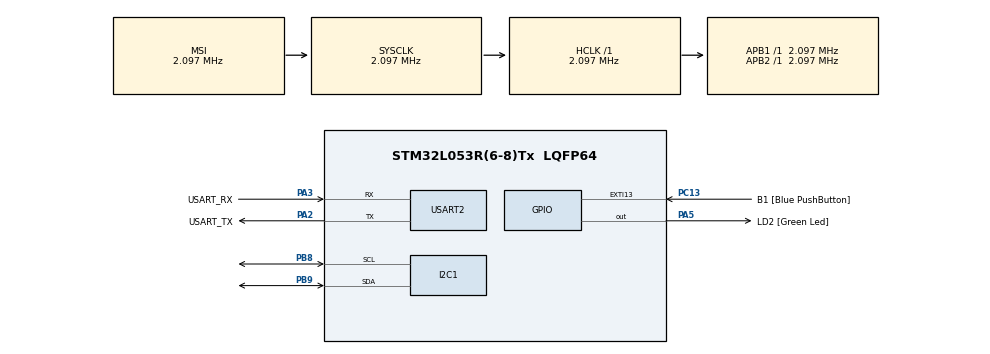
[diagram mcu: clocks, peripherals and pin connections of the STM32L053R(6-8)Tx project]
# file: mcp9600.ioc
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I2C1.Speed=10
I2C1.Timing=0x000006C5
Mcu.Family=STM32L0
Mcu.Name=STM32L053R(6-8)Tx
Mcu.Package=LQFP64
PA13.GPIO_Label=TMS
PA13.Mode=Serial_Wire
PA13.Signal=SYS_SWDIO
PA14.GPIO_Label=TCK
PA14.Mode=Serial_Wire
PA14.Signal=SYS_SWCLK
PA2.GPIO_Label=USART_TX
PA2.Mode=Asynchronous
PA2.Signal=USART2_TX
PA3.GPIO_Label=USART_RX
PA3.Mode=Asynchronous
PA3.Signal=USART2_RX
PA5.GPIO_Label=LD2 [Green Led]
PA5.Signal=GPIO_Output
PB8.Mode=I2C
PB8.Signal=I2C1_SCL
PB9.Mode=I2C
PB9.Signal=I2C1_SDA
PC13.GPIO_Label=B1 [Blue PushButton]
PC13.GPIO_ModeDefaultEXTI=GPIO_MODE_IT_FALLING
PC13.Signal=GPXTI13
PC14-OSC32_IN.Mode=LSE-External-Oscillator
PC14-OSC32_IN.Signal=RCC_OSC32_IN
PC15-OSC32_OUT.Mode=LSE-External-Oscillator
PC15-OSC32_OUT.Signal=RCC_OSC32_OUT
PH0-OSC_IN.Mode=HSE-External-Clock-Source
PH0-OSC_IN.Signal=RCC_OSC_IN
PH1-OSC_OUT.Signal=RCC_OSC_OUT
ProjectManager.HeapSize=0x200
ProjectManager.StackSize=0x400
ProjectManager.TargetToolchain=STM32CubeIDE
RCC.AHBFreq_Value=2097000
RCC.APB1Freq_Value=2097000
RCC.APB1TimFreq_Value=2097000
RCC.APB2Freq_Value=2097000
RCC.APB2TimFreq_Value=2097000
RCC.HSE_VALUE=8000000
RCC.HSI16_VALUE=16000000
RCC.HSI48_VALUE=48000000
RCC.HSI_VALUE=16000000
RCC.MSI_VALUE=2097000
RCC.SYSCLKFreq_VALUE=2097000
RCC.VCOOutputFreq_Value=48000000
USART2.VirtualMode-Asynchronous=VM_ASYNC
board=NUCLEO-L053R8

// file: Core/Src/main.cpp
/* USER CODE BEGIN Header */
/**
 ******************************************************************************
 * @file           : main.c
 * @brief          : Main program body
 ******************************************************************************
 * @attention
 *
 * Copyright (c) 2022 STMicroelectronics.
 * All rights reserved.
 *
 * This software is licensed under terms that can be found in the LICENSE file
 * in the root directory of this software component.
 * If no LICENSE file comes with this software, it is provided AS-IS.
 *
 ******************************************************************************
 */
/* USER CODE END Header */
#include "main.h"

/* USER CODE BEGIN Includes */
#include "stdio.h"
#include "mcp9600.h"
/* USER CODE END Includes */

I2C_HandleTypeDef hi2c1;
UART_HandleTypeDef huart2;

void SystemClock_Config(void);
static void MX_GPIO_Init(void);
static void MX_USART2_UART_Init(void);
static void MX_I2C1_Init(void);

/* USER CODE BEGIN 0 */
extern "C" {
int __io_putchar(int ch) {
	HAL_UART_Transmit(&huart2, (uint8_t*) &ch, 1, 0xFFFF);
	return ch;
}
}

err_t sensor_basic_config(MCP9600 &thermocpl) {
	err_t ret = NO_ERROR;
	CHECK_RESULT(ret, thermocpl.set_filt_coefficients(FILT_MID));
	CHECK_RESULT(ret,
			thermocpl.set_cold_junc_resolution(COLD_JUNC_RESOLUTION_0_25));
	CHECK_RESULT(ret, thermocpl.set_ADC_meas_resolution(ADC_14BIT_RESOLUTION));
	CHECK_RESULT(ret, thermocpl.set_burst_mode_samp(BURST_32_SAMPLE));
	CHECK_RESULT(ret, thermocpl.set_sensor_mode(NORMAL_OPERATION));
	return ret;
}

err_t get_temperature(MCP9600 &thermocpl) {
	err_t ret = NO_ERROR;
	float hot_junc = 0;
	float junc_delta = 0;
	float cold_junc = 0;
	CHECK_RESULT(ret, thermocpl.read_hot_junc(&hot_junc));
	CHECK_RESULT(ret, thermocpl.read_junc_temp_delta(&junc_delta));
	CHECK_RESULT(ret, thermocpl.read_cold_junc(&cold_junc));

	printf("hot junc= %3.2fC\r\n", hot_junc);
	printf("junc_delta=%3.2fC\r\n", junc_delta);
	printf("cold_junc=%3.2fC\r\n", cold_junc);

	return ret;
}

/* USER CODE END 0 */

int main(void) {
	/* USER CODE BEGIN 1 */
	MCP9600 thermocpl1((0x60 << 1));
	MCP9600 thermocpl2((0x67 << 1));

	/* USER CODE END 1 */

	/* MCU Configuration--------------------------------------------------------*/

	/* Reset of all peripherals, Initializes the Flash interface and the Systick. */
	HAL_Init();

	/* Configure the system clock */
	SystemClock_Config();

	/* Initialize all configured peripherals */
	MX_GPIO_Init();
	MX_USART2_UART_Init();
	MX_I2C1_Init();
	/* USER CODE BEGIN 2 */
	if (thermocpl1.init(THER_TYPE_K, &hi2c1)) {
		printf("sensor init failed!!\r\n");
	} else {
		printf("Sensor 1 Initialized!\r\n");
	}

	if (thermocpl2.init(THER_TYPE_K, &hi2c1)) {
		printf("sensor init failed!!\r\n");
	} else {
		printf("Sensor Initialized!\r\n");
	}

	if (sensor_basic_config(thermocpl1) != NO_ERROR) {
		Error_Handler();
	}

	if (sensor_basic_config(thermocpl2) != NO_ERROR) {
			Error_Handler();
		}

	/* USER CODE END 2 */

	/* Infinite loop */
	while (1) {

		/* USER CODE BEGIN 3 */
		printf("Sensor 1 Temperature: \r\n");
		get_temperature (thermocpl1);
		printf("Sensor 2 Temperature: \r\n");
		get_temperature (thermocpl2);
		HAL_Delay(1000);

	}
	/* USER CODE END 3 */
}

void SystemClock_Config(void) {
	RCC_OscInitTypeDef RCC_OscInitStruct = { 0 };
	RCC_ClkInitTypeDef RCC_ClkInitStruct = { 0 };
	RCC_PeriphCLKInitTypeDef PeriphClkInit = { 0 };

	/** Configure the main internal regulator output voltage
	 */
	__HAL_PWR_VOLTAGESCALING_CONFIG(PWR_REGULATOR_VOLTAGE_SCALE1);

	/** Initializes the RCC Oscillators according to the specified parameters
	 * in the RCC_OscInitTypeDef structure.
	 */
	RCC_OscInitStruct.OscillatorType = RCC_OSCILLATORTYPE_MSI;
	RCC_OscInitStruct.MSIState = RCC_MSI_ON;
	RCC_OscInitStruct.MSICalibrationValue = 0;
	RCC_OscInitStruct.MSIClockRange = RCC_MSIRANGE_5;
	RCC_OscInitStruct.PLL.PLLState = RCC_PLL_NONE;
	if (HAL_RCC_OscConfig(&RCC_OscInitStruct) != HAL_OK) {
		Error_Handler();
	}

	/** Initializes the CPU, AHB and APB buses clocks
	 */
	RCC_ClkInitStruct.ClockType = RCC_CLOCKTYPE_HCLK | RCC_CLOCKTYPE_SYSCLK
			| RCC_CLOCKTYPE_PCLK1 | RCC_CLOCKTYPE_PCLK2;
	RCC_ClkInitStruct.SYSCLKSource = RCC_SYSCLKSOURCE_MSI;
	RCC_ClkInitStruct.AHBCLKDivider = RCC_SYSCLK_DIV1;
	RCC_ClkInitStruct.APB1CLKDivider = RCC_HCLK_DIV1;
	RCC_ClkInitStruct.APB2CLKDivider = RCC_HCLK_DIV1;

	if (HAL_RCC_ClockConfig(&RCC_ClkInitStruct, FLASH_LATENCY_0) != HAL_OK) {
		Error_Handler();
	}
	PeriphClkInit.PeriphClockSelection = RCC_PERIPHCLK_USART2
			| RCC_PERIPHCLK_I2C1;
	PeriphClkInit.Usart2ClockSelection = RCC_USART2CLKSOURCE_PCLK1;
	PeriphClkInit.I2c1ClockSelection = RCC_I2C1CLKSOURCE_PCLK1;
	if (HAL_RCCEx_PeriphCLKConfig(&PeriphClkInit) != HAL_OK) {
		Error_Handler();
	}
}

static void MX_I2C1_Init(void) {

	hi2c1.Instance = I2C1;
	hi2c1.Init.Timing = 0x000006C5;
	hi2c1.Init.OwnAddress1 = 0;
	hi2c1.Init.AddressingMode = I2C_ADDRESSINGMODE_7BIT;
	hi2c1.Init.DualAddressMode = I2C_DUALADDRESS_DISABLE;
	hi2c1.Init.OwnAddress2 = 0;
	hi2c1.Init.OwnAddress2Masks = I2C_OA2_NOMASK;
	hi2c1.Init.GeneralCallMode = I2C_GENERALCALL_DISABLE;
	hi2c1.Init.NoStretchMode = I2C_NOSTRETCH_DISABLE;
	if (HAL_I2C_Init(&hi2c1) != HAL_OK) {
		Error_Handler();
	}

	/** Configure Analogue filter
	 */
	if (HAL_I2CEx_ConfigAnalogFilter(&hi2c1, I2C_ANALOGFILTER_ENABLE)
			!= HAL_OK) {
		Error_Handler();
	}

	/** Configure Digital filter
	 */
	if (HAL_I2CEx_ConfigDigitalFilter(&hi2c1, 0) != HAL_OK) {
		Error_Handler();
	}

}

static void MX_USART2_UART_Init(void) {

	huart2.Instance = USART2;
	huart2.Init.BaudRate = 115200;
	huart2.Init.WordLength = UART_WORDLENGTH_8B;
	huart2.Init.StopBits = UART_STOPBITS_1;
	huart2.Init.Parity = UART_PARITY_NONE;
	huart2.Init.Mode = UART_MODE_TX_RX;
	huart2.Init.HwFlowCtl = UART_HWCONTROL_NONE;
	huart2.Init.OverSampling = UART_OVERSAMPLING_16;
	huart2.Init.OneBitSampling = UART_ONE_BIT_SAMPLE_DISABLE;
	huart2.AdvancedInit.AdvFeatureInit = UART_ADVFEATURE_NO_INIT;
	if (HAL_UART_Init(&huart2) != HAL_OK) {
		Error_Handler();
	}

}

static void MX_GPIO_Init(void) {
	GPIO_InitTypeDef GPIO_InitStruct = { 0 };

	/* GPIO Ports Clock Enable */
	__HAL_RCC_GPIOC_CLK_ENABLE();
	__HAL_RCC_GPIOH_CLK_ENABLE();
	__HAL_RCC_GPIOA_CLK_ENABLE();
	__HAL_RCC_GPIOB_CLK_ENABLE();

	/*Configure GPIO pin Output Level */
	HAL_GPIO_WritePin(LD2_GPIO_Port, LD2_Pin, GPIO_PIN_RESET);

	/*Configure GPIO pin : B1_Pin */
	GPIO_InitStruct.Pin = B1_Pin;
	GPIO_InitStruct.Mode = GPIO_MODE_IT_FALLING;
	GPIO_InitStruct.Pull = GPIO_NOPULL;
	HAL_GPIO_Init(B1_GPIO_Port, &GPIO_InitStruct);

	/*Configure GPIO pin : LD2_Pin */
	GPIO_InitStruct.Pin = LD2_Pin;
	GPIO_InitStruct.Mode = GPIO_MODE_OUTPUT_PP;
	GPIO_InitStruct.Pull = GPIO_NOPULL;
	GPIO_InitStruct.Speed = GPIO_SPEED_FREQ_LOW;
	HAL_GPIO_Init(LD2_GPIO_Port, &GPIO_InitStruct);

}

void Error_Handler(void) {
	__disable_irq();
	while (1) {
	}
}
